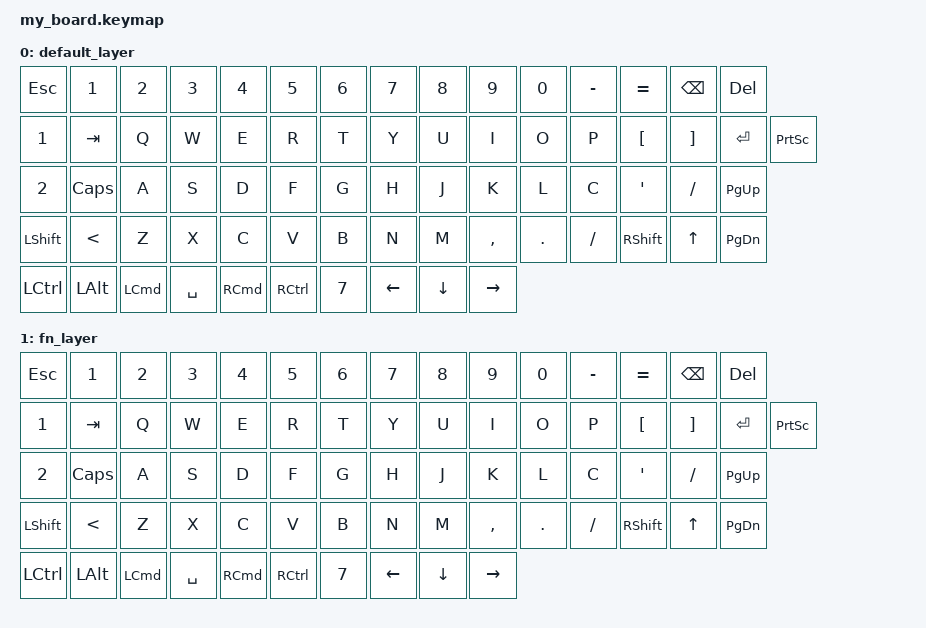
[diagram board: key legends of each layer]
/* 
 * config/boards/shields/my_board/My_board.keymap
 * 
 * This is where the default keymap is stored, it is overwritten by config/my_board.my_board.keycap
 * 
 */

#include <behaviors.dtsi>
#include <dt-bindings/zmk/keys.h>
#include <dt-bindings/zmk/bt.h>

/ {
    keymap {
        compatible = "zmk,keymap";

        default_layer {
// --------------------------- 71 Keys - ISO Layout with US Legends (Mostly) ----------------------------
// ------------------------------------------------------------------------------------------------------
//       | ESC |  1  |  2  |  3  |  4  |  5  |  6  |  7  |  8  |  9  |  0  |  -  |  =  |   BKSP   | DEL |
// | ENC | TAB  |  Q  |  W  |  E  |  R  |  T  |  Y  |  U  |  I  |  O  |  P  |  [  |  ]  |  ENTER  | PRT |
// | ENC | CAPS  |  A  |  S  |  D  |  F  |  G  |  H  |  J  |  K  |  L  |  ;  |  '  |  x  |________| pUP |
//       |SHIFT|  x  |  Z  |  X  |  C  |  V  |  B  |  N  |  M  |  <  |  >  |  ?  |   SHIFT   | ↑  | pDN |
//       | CTL | WIN | ALT |                   SPACE                 | ALT | WIN | FN1 |  ←  | ↓  |  ➞  |
// ------------------------------------------------------------------------------------------------------

            bindings = <
&kp ESC   &kp N1   &kp N2   &kp N3    &kp N4   &kp N5    &kp N6 &kp N7   &kp N8   &kp N9    &kp N0  &kp MINUS &kp EQUAL &kp BSPC  &kp DEL
&kp N1    &kp TAB  &kp Q    &kp W     &kp E    &kp R     &kp T  &kp Y    &kp U    &kp I     &kp O   &kp P     &kp LBKT  &kp RBKT  &kp ENTER  &kp PSCRN
&kp N2    &kp CAPS &kp A    &kp S     &kp D    &kp F     &kp G  &kp H    &kp J    &kp K     &kp L   &kp C     &kp SQT   &kp SLASH &kp PG_UP
&kp LSHFT &kp LT   &kp Z    &kp X     &kp C    &kp V     &kp B  &kp N    &kp M    &kp COMMA &kp DOT &kp SLASH &kp RSHFT &kp UP    &kp PG_DN
&kp LCTRL &kp LALT &kp LCMD &kp SPACE &kp RCMD &kp RCTRL &kp N7 &kp LEFT &kp DOWN &kp RIGHT

            >;

        };

/* fn layer not configured yet, atm it's just a duplicate of the above */
        fn_layer {
            bindings = <
&kp ESC   &kp N1   &kp N2   &kp N3    &kp N4   &kp N5    &kp N6 &kp N7   &kp N8   &kp N9    &kp N0  &kp MINUS &kp EQUAL &kp BSPC  &kp DEL
&kp N1    &kp TAB  &kp Q    &kp W     &kp E    &kp R     &kp T  &kp Y    &kp U    &kp I     &kp O   &kp P     &kp LBKT  &kp RBKT  &kp ENTER  &kp PSCRN
&kp N2    &kp CAPS &kp A    &kp S     &kp D    &kp F     &kp G  &kp H    &kp J    &kp K     &kp L   &kp C     &kp SQT   &kp SLASH &kp PG_UP
&kp LSHFT &kp LT   &kp Z    &kp X     &kp C    &kp V     &kp B  &kp N    &kp M    &kp COMMA &kp DOT &kp SLASH &kp RSHFT &kp UP    &kp PG_DN
&kp LCTRL &kp LALT &kp LCMD &kp SPACE &kp RCMD &kp RCTRL &kp N7 &kp LEFT &kp DOWN &kp RIGHT
            >;
        };
    };
};
